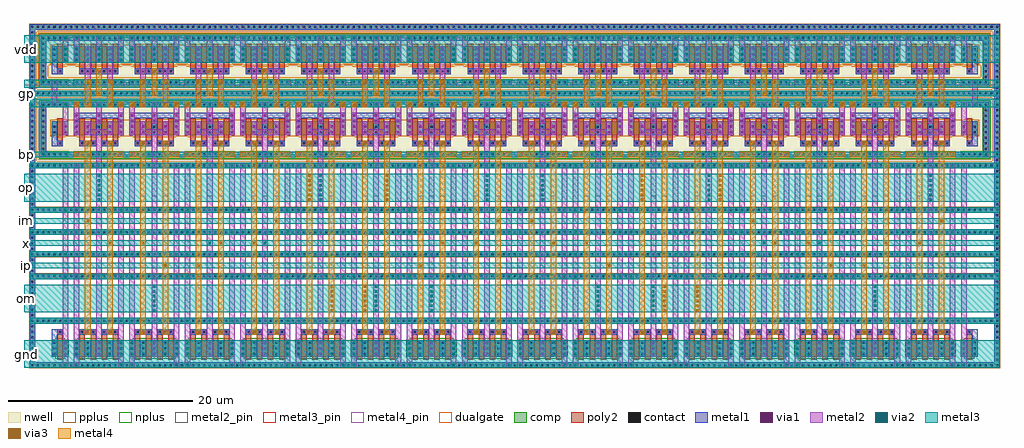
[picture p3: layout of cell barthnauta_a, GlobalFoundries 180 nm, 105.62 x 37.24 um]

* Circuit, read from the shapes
.subckt barthnauta_a bp gnd gp im ip om op vdd vreg x
XM1 gnd barthnauta_edge_1/lo barthnauta_edge_1/lo gnd nfet_03v3 w=1.8u l=0.6u
XM2 barthnauta_cell_0/d1 im gnd gnd nfet_03v3 w=1.8u l=0.6u
XM3 op im barthnauta_cell_0/d1 gnd nfet_03v3 w=1.8u l=0.6u
XM4 barthnauta_cell_0/d2 x op gnd nfet_03v3 w=1.8u l=0.6u
XM5 gnd x barthnauta_cell_0/d2 gnd nfet_03v3 w=1.8u l=0.6u
XM6 barthnauta_cell_2/d1 x gnd gnd nfet_03v3 w=1.8u l=0.6u
XM7 om x barthnauta_cell_2/d1 gnd nfet_03v3 w=1.8u l=0.6u
XM8 barthnauta_cell_2/d2 ip om gnd nfet_03v3 w=1.8u l=0.6u
XM9 gnd ip barthnauta_cell_2/d2 gnd nfet_03v3 w=1.8u l=0.6u
XM10 barthnauta_cell_3/d1 ip gnd gnd nfet_03v3 w=1.8u l=0.6u
XM11 x ip barthnauta_cell_3/d1 gnd nfet_03v3 w=1.8u l=0.6u
XM12 barthnauta_cell_3/d2 x x gnd nfet_03v3 w=1.8u l=0.6u
XM13 gnd x barthnauta_cell_3/d2 gnd nfet_03v3 w=1.8u l=0.6u
XM14 barthnauta_cell_4/d1 x gnd gnd nfet_03v3 w=1.8u l=0.6u
XM15 x x barthnauta_cell_4/d1 gnd nfet_03v3 w=1.8u l=0.6u
XM16 barthnauta_cell_4/d2 im x gnd nfet_03v3 w=1.8u l=0.6u
XM17 gnd im barthnauta_cell_4/d2 gnd nfet_03v3 w=1.8u l=0.6u
XM18 barthnauta_cell_5/d1 op gnd gnd nfet_03v3 w=1.8u l=0.6u
XM19 op op barthnauta_cell_5/d1 gnd nfet_03v3 w=1.8u l=0.6u
XM20 barthnauta_cell_5/d2 om op gnd nfet_03v3 w=1.8u l=0.6u
XM21 gnd om barthnauta_cell_5/d2 gnd nfet_03v3 w=1.8u l=0.6u
XM22 barthnauta_cell_6/d1 om gnd gnd nfet_03v3 w=1.8u l=0.6u
XM23 om om barthnauta_cell_6/d1 gnd nfet_03v3 w=1.8u l=0.6u
XM24 barthnauta_cell_6/d2 op om gnd nfet_03v3 w=1.8u l=0.6u
XM25 gnd op barthnauta_cell_6/d2 gnd nfet_03v3 w=1.8u l=0.6u
XM26 barthnauta_cell_7/d1 ip gnd gnd nfet_03v3 w=1.8u l=0.6u
XM27 om ip barthnauta_cell_7/d1 gnd nfet_03v3 w=1.8u l=0.6u
XM28 barthnauta_cell_7/d2 x om gnd nfet_03v3 w=1.8u l=0.6u
XM29 gnd x barthnauta_cell_7/d2 gnd nfet_03v3 w=1.8u l=0.6u
XM30 barthnauta_cell_8/d1 x gnd gnd nfet_03v3 w=1.8u l=0.6u
XM31 op x barthnauta_cell_8/d1 gnd nfet_03v3 w=1.8u l=0.6u
XM32 barthnauta_cell_8/d2 im op gnd nfet_03v3 w=1.8u l=0.6u
XM33 gnd im barthnauta_cell_8/d2 gnd nfet_03v3 w=1.8u l=0.6u
XM34 barthnauta_cell_9/d2 im gnd gnd nfet_03v3 w=1.8u l=0.6u
XM35 op im barthnauta_cell_9/d2 gnd nfet_03v3 w=1.8u l=0.6u
XM36 barthnauta_cell_9/d1 x op gnd nfet_03v3 w=1.8u l=0.6u
XM37 gnd x barthnauta_cell_9/d1 gnd nfet_03v3 w=1.8u l=0.6u
XM38 barthnauta_cell_10/d2 x gnd gnd nfet_03v3 w=1.8u l=0.6u
XM39 om x barthnauta_cell_10/d2 gnd nfet_03v3 w=1.8u l=0.6u
XM40 barthnauta_cell_10/d1 ip om gnd nfet_03v3 w=1.8u l=0.6u
XM41 gnd ip barthnauta_cell_10/d1 gnd nfet_03v3 w=1.8u l=0.6u
XM42 barthnauta_cell_11/d2 op gnd gnd nfet_03v3 w=1.8u l=0.6u
XM43 om op barthnauta_cell_11/d2 gnd nfet_03v3 w=1.8u l=0.6u
XM44 barthnauta_cell_11/d1 om om gnd nfet_03v3 w=1.8u l=0.6u
XM45 gnd om barthnauta_cell_11/d1 gnd nfet_03v3 w=1.8u l=0.6u
XM46 barthnauta_cell_12/d2 om gnd gnd nfet_03v3 w=1.8u l=0.6u
XM47 op om barthnauta_cell_12/d2 gnd nfet_03v3 w=1.8u l=0.6u
XM48 barthnauta_cell_12/d1 op op gnd nfet_03v3 w=1.8u l=0.6u
XM49 gnd op barthnauta_cell_12/d1 gnd nfet_03v3 w=1.8u l=0.6u
XM50 barthnauta_cell_13/d2 im gnd gnd nfet_03v3 w=1.8u l=0.6u
XM51 x im barthnauta_cell_13/d2 gnd nfet_03v3 w=1.8u l=0.6u
XM52 barthnauta_cell_13/d1 x x gnd nfet_03v3 w=1.8u l=0.6u
XM53 gnd x barthnauta_cell_13/d1 gnd nfet_03v3 w=1.8u l=0.6u
XM54 barthnauta_cell_14/d2 x gnd gnd nfet_03v3 w=1.8u l=0.6u
XM55 x x barthnauta_cell_14/d2 gnd nfet_03v3 w=1.8u l=0.6u
XM56 barthnauta_cell_14/d1 ip x gnd nfet_03v3 w=1.8u l=0.6u
XM57 gnd ip barthnauta_cell_14/d1 gnd nfet_03v3 w=1.8u l=0.6u
XM58 barthnauta_cell_15/d2 ip gnd gnd nfet_03v3 w=1.8u l=0.6u
XM59 om ip barthnauta_cell_15/d2 gnd nfet_03v3 w=1.8u l=0.6u
XM60 barthnauta_cell_15/d1 x om gnd nfet_03v3 w=1.8u l=0.6u
XM61 gnd x barthnauta_cell_15/d1 gnd nfet_03v3 w=1.8u l=0.6u
XM62 barthnauta_cell_16/d2 x gnd gnd nfet_03v3 w=1.8u l=0.6u
XM63 op x barthnauta_cell_16/d2 gnd nfet_03v3 w=1.8u l=0.6u
XM64 barthnauta_cell_16/d1 im op gnd nfet_03v3 w=1.8u l=0.6u
XM65 gnd im barthnauta_cell_16/d1 gnd nfet_03v3 w=1.8u l=0.6u
XM66 barthnauta_edge_17/lo barthnauta_edge_17/lo gnd gnd nfet_03v3 w=1.8u l=0.6u
XM67 vreg barthnauta_edge_1/hi barthnauta_edge_1/hi bp pfet_03v3 w=1.5u l=0.6u
XM68 vdd barthnauta_edge_1/hih barthnauta_edge_1/hih vdd pfet_06v0 w=1.8u l=0.6u
XM69 op im vreg bp pfet_03v3 w=1.5u l=0.6u m=8
XM70 vreg gp vdd vdd pfet_06v0 w=1.8u l=0.6u m=64
XM71 op x vreg bp pfet_03v3 w=1.5u l=0.6u m=8
XM72 om x vreg bp pfet_03v3 w=1.5u l=0.6u m=8
XM73 om ip vreg bp pfet_03v3 w=1.5u l=0.6u m=8
XM74 x ip vreg bp pfet_03v3 w=1.5u l=0.6u m=4
XM75 x x vreg bp pfet_03v3 w=1.5u l=0.6u m=8
XM76 x im vreg bp pfet_03v3 w=1.5u l=0.6u m=4
XM77 op op vreg bp pfet_03v3 w=1.5u l=0.6u m=4
XM78 op om vreg bp pfet_03v3 w=1.5u l=0.6u m=4
XM79 om om vreg bp pfet_03v3 w=1.5u l=0.6u m=4
XM80 om op vreg bp pfet_03v3 w=1.5u l=0.6u m=4
XM81 barthnauta_edge_17/hi barthnauta_edge_17/hi vreg bp pfet_03v3 w=1.5u l=0.6u
XM82 barthnauta_edge_17/hih barthnauta_edge_17/hih vdd vdd pfet_06v0 w=1.8u l=0.6u
.ends

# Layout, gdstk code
from math import pi, radians
import gdstk
lib = gdstk.Library(unit=1e-6, precision=1e-09)
def R(c, l, rs):  # rectangles x0, y0, x1, y1
    for r in rs: c.add(gdstk.rectangle(r[:2], r[2:], *l))
def A(c, l, x, y, w, h, nx, ny, dx, dy):  # array of equal rectangles
    R(c, l, [(x+i*dx, y+j*dy, x+i*dx+w, y+j*dy+h) for i in range(nx) for j in range(ny)])
nwell = (21, 0)
comp = (22, 0)
poly2 = (30, 0)
pplus = (31, 0)
nplus = (32, 0)
contact = (33, 0)
metal1 = (34, 0)
via1 = (35, 0)
metal2 = (36, 0)
metal2_pin = (36, 10)
via2 = (38, 0)
via3 = (40, 0)
metal3 = (42, 0)
metal3_pin = (42, 10)
metal4 = (46, 0)
metal4_pin = (46, 10)
dualgate = (55, 0)

barthnauta_cell = lib.new_cell('barthnauta_cell')
R(barthnauta_cell, nwell, [(-36,15.9,-29.4,22.5), (-36,23.7,-29.4,29.7)])
A(barthnauta_cell, comp, -36, -6.6, 6.6, 0.6, 1, 3, 0, 4.8)
A(barthnauta_cell, comp, -36, 5.4, 6.6, 0.6, 1, 3, 0, 2.4)
R(barthnauta_cell, comp, [(-35.4,-5.4,-30,-3.6), (-36,15,-29.4,15.6), (-35.4,16.2,-30,16.8), (-35.4,18.6,-30,20.1), (-35.4,21.6,-30,22.2), (-36,22.8,-29.4,23.4), (-35.4,24,-30,24.6), (-35.4,26.4,-30,28.2), (-35.4,28.8,-30,29.4), (-36,30,-29.4,30.6)])
A(barthnauta_cell, poly2, -34.8, -5.7, 0.6, 2.7, 4, 2, 1.2, 31.5)
A(barthnauta_cell, poly2, -34.8, 18, 0.6, 2.4, 4, 1, 1.2, 0)
R(barthnauta_cell, poly2, [(-34.8,-3,-33,-2.4), (-32.4,-3,-30.6,-2.4), (-34.8,17.4,-33,18), (-32.4,17.4,-30.6,18), (-34.8,25.2,-30.6,25.8)])
A(barthnauta_cell, pplus, -36.02, -6.62, 6.64, 0.64, 1, 3, 0, 4.8)
A(barthnauta_cell, pplus, -36.02, 5.38, 6.64, 0.64, 1, 3, 0, 2.4)
R(barthnauta_cell, pplus, [(-36.02,14.98,-29.38,15.31), (-36.16,15.31,-29.24,15.76), (-35.03,18.37,-30.37,18.44), (-35.56,18.44,-29.84,20.26), (-35.03,20.26,-30.37,20.33), (-36.16,22.64,-29.24,23.56), (-35.03,26.17,-30.37,26.24), (-35.56,26.24,-29.84,28.36), (-35.03,28.36,-30.37,28.43), (-36.16,29.84,-29.24,30.29), (-36.02,30.29,-29.38,30.62)])
R(barthnauta_cell, nplus, [(-35.03,-5.63,-30.37,-5.42), (-35.42,-5.42,-29.98,-3.58), (-35.03,-3.58,-30.37,-3.37), (-35.56,16.04,-29.84,16.49), (-35.42,16.49,-29.98,16.82), (-35.42,21.58,-29.98,21.91), (-35.56,21.91,-29.84,22.36), (-35.56,23.84,-29.84,24.29), (-35.42,24.29,-29.98,24.62), (-35.42,28.78,-29.98,29.11), (-35.56,29.11,-29.84,29.56)])
A(barthnauta_cell, contact, -35.81, -6.41, 0.22, 0.22, 11, 3, 0.6, 4.8)
A(barthnauta_cell, contact, -35.21, -5.21, 0.22, 0.22, 5, 3, 1.2, 0.6)
A(barthnauta_cell, contact, -34.61, -2.81, 0.22, 0.22, 3, 2, 0.6, 20.4)
A(barthnauta_cell, contact, -32.21, -2.81, 0.22, 0.22, 3, 2, 0.6, 20.4)
A(barthnauta_cell, contact, -35.81, 5.59, 0.22, 0.22, 11, 3, 0.6, 2.4)
A(barthnauta_cell, contact, -35.81, 15.19, 0.22, 0.22, 11, 2, 0.6, 7.8)
A(barthnauta_cell, contact, -35.21, 16.39, 0.22, 0.22, 9, 2, 0.6, 5.4)
A(barthnauta_cell, contact, -35.21, 18.79, 0.22, 0.22, 5, 2, 1.2, 0.6)
A(barthnauta_cell, contact, -35.21, 24.19, 0.22, 0.22, 9, 2, 0.6, 4.8)
A(barthnauta_cell, contact, -34.61, 25.39, 0.22, 0.22, 7, 1, 0.6, 0)
A(barthnauta_cell, contact, -35.21, 26.59, 0.22, 0.22, 5, 3, 1.2, 0.6)
A(barthnauta_cell, contact, -35.81, 30.19, 0.22, 0.22, 11, 1, 0.6, 0)
A(barthnauta_cell, metal1, -36, -6.6, 6.6, 0.6, 1, 3, 0, 4.8)
A(barthnauta_cell, metal1, -35.4, -5.4, 0.6, 1.8, 5, 2, 1.2, 31.8)
A(barthnauta_cell, metal1, -36, 5.4, 6.6, 0.6, 1, 3, 0, 2.4)
A(barthnauta_cell, metal1, -35.4, 18.6, 0.6, 1.8, 3, 1, 2.4, 0)
A(barthnauta_cell, metal1, -36, 21.6, 6.6, 0.6, 1, 3, 0, 1.2)
R(barthnauta_cell, metal1, [(-34.8,-3,-33,-2.4), (-32.4,-3,-30.6,-2.4), (-36,15,-29.4,15.6), (-36,16.2,-29.4,16.8), (-34.8,17.4,-33,18), (-32.4,17.4,-30.6,18), (-34.2,18.6,-33.6,20.1), (-31.8,18.6,-31.2,20.1), (-35.4,20.4,-30,21), (-34.8,25.2,-30.6,25.8), (-36,28.8,-29.4,29.4), (-36,30,-29.4,30.6)])
A(barthnauta_cell, via1, -35.23, -6.43, 0.26, 0.26, 1, 3, 0, 4.8)
A(barthnauta_cell, via1, -30.43, -6.43, 0.26, 0.26, 1, 3, 0, 4.8)
A(barthnauta_cell, via1, -35.23, -5.23, 0.26, 0.26, 3, 3, 2.4, 0.6)
A(barthnauta_cell, via1, -35.23, 5.57, 0.26, 0.26, 1, 3, 0, 2.4)
A(barthnauta_cell, via1, -30.43, 5.57, 0.26, 0.26, 1, 3, 0, 2.4)
A(barthnauta_cell, via1, -35.23, 19.97, 0.26, 0.26, 3, 2, 2.4, 0.6)
A(barthnauta_cell, via1, -35.23, 26.57, 0.26, 0.26, 5, 3, 1.2, 0.6)
A(barthnauta_cell, via1, -35.23, 28.97, 0.26, 0.26, 3, 1, 2.4, 0)
R(barthnauta_cell, via1, [(-34.03,-2.83,-33.77,-2.57), (-31.63,-2.83,-31.37,-2.57), (-35.23,15.17,-34.97,15.43), (-30.43,15.17,-30.17,15.43), (-35.23,16.37,-34.97,16.63), (-30.43,16.37,-30.17,16.63), (-34.03,17.57,-33.77,17.83), (-31.63,17.57,-31.37,17.83), (-35.23,18.77,-34.97,19.03), (-34.03,18.77,-33.77,19.03), (-31.63,18.77,-31.37,19.03), (-30.43,18.77,-30.17,19.03), (-35.23,19.37,-34.97,19.63), (-34.03,19.37,-33.77,19.63), (-31.63,19.37,-31.37,19.63), (-30.43,19.37,-30.17,19.63), (-32.83,25.37,-32.57,25.63)])
A(barthnauta_cell, metal2, -35.4, 26.4, 0.6, 3, 3, 1, 2.4, 0)
R(barthnauta_cell, metal2, [(-35.4,-6.6,-34.8,15.6), (-30.6,-6.6,-30,15.6), (-33,-5.4,-32.4,18.6), (-34.2,-3,-33.6,-2.4), (-31.8,-3,-31.2,-2.4), (-35.4,16.2,-34.8,16.8), (-30.6,16.2,-30,16.8), (-34.2,17.4,-33.6,18), (-31.8,17.4,-31.2,18), (-35.4,18.6,-34.8,22.2), (-34.2,18.6,-31.2,19.2), (-30.6,18.6,-30,22.2), (-34.2,19.2,-33.6,20.1), (-31.8,19.2,-31.2,20.1), (-33,19.8,-32.4,22.2), (-34.2,21.6,-33.6,28.2), (-31.8,21.6,-31.2,28.2), (-33,25.2,-32.4,25.8)])
R(barthnauta_cell, metal2_pin, [(-33,-0.6,-32.4,12)])
A(barthnauta_cell, via2, -35.23, -5.23, 0.26, 0.26, 1, 3, 0, 0.6)
A(barthnauta_cell, via2, -30.43, -5.23, 0.26, 0.26, 1, 3, 0, 0.6)
A(barthnauta_cell, via2, -35.23, 3.17, 0.26, 0.26, 1, 4, 0, 2.4)
A(barthnauta_cell, via2, -30.43, 3.17, 0.26, 0.26, 1, 4, 0, 2.4)
A(barthnauta_cell, via2, -35.23, 21.77, 0.26, 0.26, 5, 1, 1.2, 0)
A(barthnauta_cell, via2, -35.23, 26.57, 0.26, 0.26, 3, 3, 2.4, 0.6)
A(barthnauta_cell, via2, -35.23, 28.97, 0.26, 0.26, 3, 1, 2.4, 0)
R(barthnauta_cell, via2, [(-35.23,-6.43,-34.97,-6.17), (-30.43,-6.43,-30.17,-6.17), (-34.03,-2.83,-33.77,-2.57), (-31.63,-2.83,-31.37,-2.57), (-35.23,-1.63,-34.97,-1.37), (-30.43,-1.63,-30.17,-1.37), (-35.23,15.17,-34.97,15.43), (-30.43,15.17,-30.17,15.43), (-35.23,16.37,-34.97,16.63), (-30.43,16.37,-30.17,16.63), (-34.03,17.57,-33.77,17.83), (-31.63,17.57,-31.37,17.83), (-34.03,24.17,-33.77,24.43), (-31.63,24.17,-31.37,24.43), (-32.83,25.37,-32.57,25.63)])
R(barthnauta_cell, via3, [(-34.03,-2.83,-33.77,-2.57), (-31.63,-2.83,-31.37,-2.57), (-34.03,17.57,-33.77,17.83), (-31.63,17.57,-31.37,17.83), (-35.23,21.77,-34.97,22.03), (-34.03,21.77,-33.77,22.03), (-31.63,21.77,-31.37,22.03), (-30.43,21.77,-30.17,22.03), (-32.83,22.97,-32.57,23.23), (-34.03,24.17,-33.77,24.43), (-31.63,24.17,-31.37,24.43), (-32.83,25.37,-32.57,25.63)])
A(barthnauta_cell, metal3, -36, 3, 6.6, 0.6, 1, 7, 0, 1.2)
R(barthnauta_cell, metal3, [(-36,-6.6,-29.4,-3.6), (-34.2,-3,-33.6,-2.4), (-31.8,-3,-31.2,-2.4), (-36,-1.8,-29.4,-1.2), (-36,-0.6,-29.4,2.4), (-36,11.4,-29.4,14.4), (-36,15,-29.4,15.6), (-36,16.2,-29.4,16.8), (-34.2,17.4,-33.6,18), (-31.8,17.4,-31.2,18), (-36,21.6,-29.4,22.5), (-36,22.8,-29.4,23.4), (-36,23.7,-29.4,24.6), (-33,25.2,-32.4,25.8), (-36,26.4,-29.4,29.4)])
R(barthnauta_cell, metal3_pin, [(-36,-6.6,-29.4,-3.6), (-36,-0.6,-29.4,2.4), (-36,4.2,-29.4,4.8), (-36,9,-29.4,9.6), (-36,11.4,-29.4,14.4), (-36,22.8,-29.4,23.4), (-36,23.7,-35.4,24.6), (-36,26.4,-29.4,29.4)])
R(barthnauta_cell, metal4, [(-34.2,-3,-33.6,16.2), (-31.8,-3,-31.2,16.2), (-35.4,16.2,-33.6,16.8), (-31.8,16.2,-30,16.8), (-34.2,16.8,-33.6,18), (-31.8,16.8,-31.2,18), (-35.4,21.6,-34.8,22.2), (-34.2,21.6,-33.6,24.6), (-31.8,21.6,-31.2,24.6), (-30.6,21.6,-30,22.2), (-33,22.8,-32.4,25.8)])
R(barthnauta_cell, metal4_pin, [(-34.2,-0.6,-33.6,12), (-31.8,-0.6,-31.2,12)])
R(barthnauta_cell, dualgate, [(-35.64,23.76,-29.76,24.84), (-35.2,26,-30.2,26.16), (-35.64,26.16,-29.76,29.64)])
barthnauta_cell.add(gdstk.Label('d1', (-33.9,-4.5), layer=34, texttype=0))
barthnauta_cell.add(gdstk.Label('d2', (-31.5,-4.5), layer=34, texttype=0))
barthnauta_cell.add(gdstk.Label('vss', (-32.7,30.3), layer=34, texttype=0))
barthnauta_cell.add(gdstk.Label('vss', (-32.7,23.1), layer=34, texttype=0))
barthnauta_cell.add(gdstk.Label('inl', (-33.9,5.7), layer=46, texttype=10))
barthnauta_cell.add(gdstk.Label('inr', (-31.5,5.7), layer=46, texttype=10))
barthnauta_cell.add(gdstk.Label('out', (-32.7,5.7), layer=36, texttype=10))
barthnauta_cell.add(gdstk.Label('vdd', (-32.7,27.9), layer=42, texttype=10))
barthnauta_cell.add(gdstk.Label('gp', (-32.7,23.1), layer=42, texttype=10))
barthnauta_cell.add(gdstk.Label('vreg', (-35.7,24.15), layer=42, texttype=10))
barthnauta_cell.add(gdstk.Label('op', (-32.7,12.9), layer=42, texttype=10))
barthnauta_cell.add(gdstk.Label('im', (-32.7,9.3), layer=42, texttype=10))
barthnauta_cell.add(gdstk.Label('ip', (-32.7,4.5), layer=42, texttype=10))
barthnauta_cell.add(gdstk.Label('om', (-32.7,0.9), layer=42, texttype=10))
barthnauta_cell.add(gdstk.Label('gnd', (-32.7,-5.1), layer=42, texttype=10))

barthnauta_edge = lib.new_cell('barthnauta_edge')
R(barthnauta_edge, nwell, [(-36.9,15.9,-33,22.5), (-36.9,23.7,-33,29.7)])
A(barthnauta_edge, comp, -37.8, -6.6, 4.8, 0.6, 1, 3, 0, 4.8)
A(barthnauta_edge, comp, -37.8, 3.6, 0.6, 1.8, 1, 3, 0, 2.4)
A(barthnauta_edge, comp, -37.8, 5.4, 4.8, 0.6, 1, 3, 0, 2.4)
R(barthnauta_edge, comp, [(-37.8,-6,-37.2,-1.8), (-35.4,-5.4,-33.6,-3.6), (-37.8,-1.2,-37.2,3), (-37.8,10.8,-37.2,15), (-37.8,15,-33,15.6), (-37.8,15.6,-37.2,22.8), (-36.6,16.2,-33.6,16.8), (-36.6,16.8,-36,21.6), (-35.4,18.6,-33.6,20.1), (-36.6,21.6,-33.6,22.2), (-37.8,22.8,-33,23.4), (-37.8,23.4,-37.2,30), (-36.6,24,-33.6,24.6), (-36.6,24.6,-36,28.8), (-35.4,26.4,-33.6,28.2), (-36.6,28.8,-33.6,29.4), (-37.8,30,-33,30.6)])
R(barthnauta_edge, poly2, [(-34.8,-5.7,-34.2,-2.4), (-34.8,17.4,-34.2,20.4), (-34.8,25.2,-34.2,28.5)])
A(barthnauta_edge, pplus, -37.82, -6.62, 4.84, 0.64, 1, 3, 0, 4.8)
A(barthnauta_edge, pplus, -37.82, 3.62, 0.64, 1.76, 1, 3, 0, 2.4)
A(barthnauta_edge, pplus, -37.82, 5.38, 4.84, 0.64, 1, 3, 0, 2.4)
R(barthnauta_edge, pplus, [(-37.82,-5.98,-37.18,-1.82), (-37.82,-1.18,-37.18,2.98), (-37.82,10.82,-37.18,14.98), (-37.82,14.98,-32.98,15.31), (-37.82,15.31,-32.84,15.76), (-37.82,15.76,-37.04,22.64), (-35.03,18.37,-33.97,18.44), (-35.56,18.44,-33.44,20.26), (-35.03,20.26,-33.97,20.33), (-37.82,22.64,-32.84,23.56), (-37.82,23.56,-37.04,29.84), (-35.03,26.17,-33.97,26.24), (-35.56,26.24,-33.44,28.36), (-35.03,28.36,-33.97,28.43), (-37.82,29.84,-32.84,30.29), (-37.82,30.29,-32.98,30.62)])
R(barthnauta_edge, nplus, [(-35.03,-5.63,-33.97,-5.42), (-35.42,-5.42,-33.58,-3.58), (-35.03,-3.58,-33.97,-3.37), (-36.76,16.04,-33.44,16.49), (-36.76,16.49,-33.58,16.82), (-36.76,16.82,-35.98,21.58), (-36.76,21.58,-33.58,21.91), (-36.76,21.91,-33.44,22.36), (-36.76,23.84,-33.44,24.29), (-36.76,24.29,-33.58,24.62), (-36.76,24.62,-35.98,28.78), (-36.76,28.78,-33.58,29.11), (-36.76,29.11,-33.44,29.56)])
A(barthnauta_edge, contact, -37.61, -6.41, 0.22, 0.22, 8, 3, 0.6, 4.8)
A(barthnauta_edge, contact, -37.61, -5.81, 0.22, 0.22, 1, 7, 0, 0.6)
A(barthnauta_edge, contact, -35.21, -5.21, 0.22, 0.22, 1, 3, 0, 0.6)
A(barthnauta_edge, contact, -34.01, -5.21, 0.22, 0.22, 1, 3, 0, 0.6)
A(barthnauta_edge, contact, -37.61, -1.01, 0.22, 0.22, 1, 7, 0, 0.6)
A(barthnauta_edge, contact, -37.61, 3.79, 0.22, 0.22, 1, 3, 0, 0.6)
A(barthnauta_edge, contact, -37.61, 5.59, 0.22, 0.22, 8, 3, 0.6, 2.4)
A(barthnauta_edge, contact, -37.61, 6.19, 0.22, 0.22, 1, 3, 0, 0.6)
A(barthnauta_edge, contact, -37.61, 8.59, 0.22, 0.22, 1, 3, 0, 0.6)
A(barthnauta_edge, contact, -37.61, 10.99, 0.22, 0.22, 1, 7, 0, 0.6)
A(barthnauta_edge, contact, -37.61, 15.19, 0.22, 0.22, 8, 2, 0.6, 7.8)
A(barthnauta_edge, contact, -37.61, 15.79, 0.22, 0.22, 1, 5, 0, 0.6)
A(barthnauta_edge, contact, -36.41, 16.39, 0.22, 0.22, 5, 2, 0.6, 5.4)
A(barthnauta_edge, contact, -36.41, 16.99, 0.22, 0.22, 1, 3, 0, 0.6)
A(barthnauta_edge, contact, -37.61, 18.79, 0.22, 0.22, 4, 2, 1.2, 0.6)
A(barthnauta_edge, contact, -37.61, 19.99, 0.22, 0.22, 1, 5, 0, 0.6)
A(barthnauta_edge, contact, -36.41, 19.99, 0.22, 0.22, 1, 3, 0, 0.6)
A(barthnauta_edge, contact, -37.61, 23.59, 0.22, 0.22, 1, 5, 0, 0.6)
A(barthnauta_edge, contact, -36.41, 24.19, 0.22, 0.22, 5, 2, 0.6, 4.8)
A(barthnauta_edge, contact, -36.41, 24.79, 0.22, 0.22, 1, 3, 0, 0.6)
A(barthnauta_edge, contact, -37.61, 26.59, 0.22, 0.22, 4, 3, 1.2, 0.6)
A(barthnauta_edge, contact, -37.61, 28.39, 0.22, 0.22, 1, 3, 0, 0.6)
A(barthnauta_edge, contact, -37.61, 30.19, 0.22, 0.22, 8, 1, 0.6, 0)
R(barthnauta_edge, contact, [(-34.61,-2.81,-34.39,-2.59), (-34.61,17.59,-34.39,17.81), (-34.61,25.39,-34.39,25.61), (-36.41,28.39,-36.19,28.61)])
A(barthnauta_edge, metal1, -37.8, -6.6, 4.8, 0.6, 1, 3, 0, 4.8)
A(barthnauta_edge, metal1, -37.8, 3.6, 0.6, 1.8, 1, 3, 0, 2.4)
A(barthnauta_edge, metal1, -37.8, 5.4, 4.8, 0.6, 1, 3, 0, 2.4)
R(barthnauta_edge, metal1, [(-37.8,-6,-37.2,-1.8), (-35.4,-5.4,-34.8,-3), (-34.2,-5.4,-33.6,-3.6), (-35.4,-3,-34.2,-2.4), (-37.8,-1.2,-37.2,3), (-37.8,10.8,-37.2,15), (-37.8,15,-33,15.6), (-37.8,15.6,-37.2,22.8), (-36.6,16.2,-33,16.8), (-36.6,16.8,-36,21.6), (-35.4,17.4,-34.2,18), (-35.4,18,-34.8,20.1), (-34.2,18.6,-33.6,20.1), (-36.6,21.6,-33.6,22.2), (-37.8,22.8,-33,23.4), (-37.8,23.4,-37.2,30), (-36.6,24,-33,24.6), (-36.6,24.6,-36,28.8), (-35.4,25.2,-34.2,25.8), (-35.4,25.8,-34.8,28.2), (-34.2,26.4,-33.6,28.2), (-36.6,28.8,-33,29.4), (-37.8,30,-33,30.6)])
A(barthnauta_edge, via1, -34.03, -5.23, 0.26, 0.26, 1, 3, 0, 0.6)
A(barthnauta_edge, via1, -34.03, 3.17, 0.26, 0.26, 1, 4, 0, 2.4)
A(barthnauta_edge, via1, -34.03, 26.57, 0.26, 0.26, 1, 3, 0, 0.6)
R(barthnauta_edge, via1, [(-34.03,-6.43,-33.77,-6.17), (-34.03,-1.63,-33.77,-1.37), (-34.03,15.17,-33.77,15.43), (-36.43,16.37,-36.17,16.63), (-34.03,18.77,-33.77,19.03), (-34.03,19.37,-33.77,19.63), (-34.03,28.97,-33.77,29.23)])
R(barthnauta_edge, metal2, [(-34.2,-6.6,-33.6,15.6), (-36.6,16.2,-36,16.8), (-34.2,18.6,-33.6,22.2), (-35.4,21.6,-34.8,24.6), (-34.2,26.4,-33.6,29.4)])
A(barthnauta_edge, via2, -34.03, -6.43, 0.26, 0.26, 1, 3, 0, 4.8)
A(barthnauta_edge, via2, -34.03, 5.57, 0.26, 0.26, 1, 3, 0, 2.4)
A(barthnauta_edge, via2, -34.03, 26.57, 0.26, 0.26, 1, 3, 0, 0.6)
R(barthnauta_edge, via2, [(-34.03,15.17,-33.77,15.43), (-36.43,16.37,-36.17,16.63), (-35.23,21.77,-34.97,22.03), (-34.03,21.77,-33.77,22.03), (-35.23,24.17,-34.97,24.43), (-34.03,28.97,-33.77,29.23)])
A(barthnauta_edge, metal3, -37.8, 3, 4.8, 0.6, 1, 7, 0, 1.2)
R(barthnauta_edge, metal3, [(-37.8,-6.6,-33,-3.6), (-37.8,-1.8,-33,-1.2), (-37.8,-0.6,-33,2.4), (-37.8,11.4,-33,14.4), (-37.8,15,-33,15.6), (-37.8,16.2,-33,16.8), (-37.8,21.6,-33,22.5), (-37.8,22.8,-33,23.4), (-37.8,23.7,-33,24.6), (-37.8,26.4,-33,29.4)])
A(barthnauta_edge, metal3_pin, -37.8, 4.2, 4.8, 0.6, 1, 3, 0, 2.4)
R(barthnauta_edge, metal3_pin, [(-37.8,-6.6,-33,-3.6), (-37.8,-0.6,-33,2.4), (-37.8,11.4,-33,14.4), (-37.8,16.2,-33,16.8), (-37.8,22.8,-33,23.4), (-37.8,24,-33,24.6), (-37.8,26.4,-33,29.4)])
R(barthnauta_edge, dualgate, [(-36.84,23.76,-33.36,24.84), (-36.84,24.84,-35.76,26.16), (-35.2,26,-33.8,26.16), (-36.84,26.16,-33.36,29.64)])
barthnauta_edge.add(gdstk.Label('hih', (-35.1,25.5), layer=34, texttype=0))
barthnauta_edge.add(gdstk.Label('hi', (-35.1,17.7), layer=34, texttype=0))
barthnauta_edge.add(gdstk.Label('lo', (-35.1,-2.7), layer=34, texttype=0))
barthnauta_edge.add(gdstk.Label('vdd', (-35.4,27.9), layer=42, texttype=10))
barthnauta_edge.add(gdstk.Label('gp', (-35.4,23.1), layer=42, texttype=10))
barthnauta_edge.add(gdstk.Label('bp', (-35.4,16.5), layer=42, texttype=10))
barthnauta_edge.add(gdstk.Label('vreg', (-35.4,24.3), layer=42, texttype=10))
barthnauta_edge.add(gdstk.Label('op', (-35.4,12.9), layer=42, texttype=10))
barthnauta_edge.add(gdstk.Label('x', (-35.4,6.9), layer=42, texttype=10))
barthnauta_edge.add(gdstk.Label('im', (-35.4,9.3), layer=42, texttype=10))
barthnauta_edge.add(gdstk.Label('ip', (-35.4,4.5), layer=42, texttype=10))
barthnauta_edge.add(gdstk.Label('om', (-35.4,0.9), layer=42, texttype=10))
barthnauta_edge.add(gdstk.Label('gnd', (-35.4,-5.1), layer=42, texttype=10))

barthnauta_a = lib.new_cell('barthnauta_a')
A(barthnauta_a, pplus, -47.24, 16.64, 0.28, 1.82, 17, 1, 6, 0)
A(barthnauta_a, pplus, -47.24, 24.44, 0.28, 2.12, 17, 1, 6, 0)
A(barthnauta_a, nplus, -47.24, 14.24, 0.28, 0.45, 17, 2, 6, 5.87)
A(barthnauta_a, nplus, -47.24, 22.04, 0.28, 0.45, 17, 2, 6, 5.27)
R(barthnauta_a, metal1, [(-50.4,14.4,-49.8,15), (51.6,14.4,52.2,15)])
R(barthnauta_a, metal2, [(-38.4,-2.4,-37.8,0.6), (-14.4,-2.4,-13.8,0.6), (-8.4,-2.4,-7.8,0.6), (9.6,-2.4,10.2,0.6), (15.6,-2.4,16.2,0.6), (39.6,-2.4,40.2,0.6), (-32.4,4.8,-31.8,5.4), (-26.4,4.8,-25.8,5.4), (27.6,4.8,28.2,5.4), (33.6,4.8,34.2,5.4), (-44.4,9.6,-43.8,12.6), (-20.4,9.6,-19.8,12.6), (-2.4,9.6,-1.8,12.6), (3.6,9.6,4.2,12.6), (21.6,9.6,22.2,12.6), (45.6,9.6,46.2,12.6)])
A(barthnauta_a, via2, -38.23, -2.33, 0.26, 0.26, 1, 6, 0, 0.52)
A(barthnauta_a, via2, -14.23, -2.33, 0.26, 0.26, 1, 6, 0, 0.52)
A(barthnauta_a, via2, -8.23, -2.33, 0.26, 0.26, 1, 6, 0, 0.52)
A(barthnauta_a, via2, 9.77, -2.33, 0.26, 0.26, 1, 6, 0, 0.52)
A(barthnauta_a, via2, 15.77, -2.33, 0.26, 0.26, 1, 6, 0, 0.52)
A(barthnauta_a, via2, 39.77, -2.33, 0.26, 0.26, 1, 6, 0, 0.52)
A(barthnauta_a, via2, -44.23, 9.67, 0.26, 0.26, 1, 6, 0, 0.52)
A(barthnauta_a, via2, -20.23, 9.67, 0.26, 0.26, 1, 6, 0, 0.52)
A(barthnauta_a, via2, -2.23, 9.67, 0.26, 0.26, 1, 6, 0, 0.52)
A(barthnauta_a, via2, 3.77, 9.67, 0.26, 0.26, 1, 6, 0, 0.52)
A(barthnauta_a, via2, 21.77, 9.67, 0.26, 0.26, 1, 6, 0, 0.52)
A(barthnauta_a, via2, 45.77, 9.67, 0.26, 0.26, 1, 6, 0, 0.52)
R(barthnauta_a, via2, [(-32.23,4.97,-31.97,5.23), (-26.23,4.97,-25.97,5.23), (27.77,4.97,28.03,5.23), (33.77,4.97,34.03,5.23)])
A(barthnauta_a, via3, -19.03, -2.33, 0.26, 0.26, 1, 6, 0, 0.52)
A(barthnauta_a, via3, -15.43, -2.33, 0.26, 0.26, 1, 6, 0, 0.52)
A(barthnauta_a, via3, 16.97, -2.33, 0.26, 0.26, 1, 6, 0, 0.52)
A(barthnauta_a, via3, 20.57, -2.33, 0.26, 0.26, 1, 6, 0, 0.52)
A(barthnauta_a, via3, -21.43, 9.67, 0.26, 0.26, 1, 6, 0, 0.52)
A(barthnauta_a, via3, -13.03, 9.67, 0.26, 0.26, 1, 6, 0, 0.52)
A(barthnauta_a, via3, 14.57, 9.67, 0.26, 0.26, 1, 6, 0, 0.52)
A(barthnauta_a, via3, 22.97, 9.67, 0.26, 0.26, 1, 6, 0, 0.52)
R(barthnauta_a, via3, [(-37.03,2.57,-36.77,2.83), (-33.43,2.57,-33.17,2.83), (-9.43,2.57,-9.17,2.83), (10.97,2.57,11.23,2.83), (34.97,2.57,35.23,2.83), (38.57,2.57,38.83,2.83), (-43.03,4.97,-42.77,5.23), (-39.43,4.97,-39.17,5.23), (-31.03,4.97,-30.77,5.23), (-27.43,4.97,-27.17,5.23), (-7.03,4.97,-6.77,5.23), (-3.43,4.97,-3.17,5.23), (4.97,4.97,5.23,5.23), (8.57,4.97,8.83,5.23), (28.97,4.97,29.23,5.23), (32.57,4.97,32.83,5.23), (40.97,4.97,41.23,5.23), (44.57,4.97,44.83,5.23), (-45.43,7.37,-45.17,7.63), (-25.03,7.37,-24.77,7.63), (-1.03,7.37,-0.77,7.63), (2.57,7.37,2.83,7.63), (26.57,7.37,26.83,7.63), (46.97,7.37,47.23,7.63)])
A(barthnauta_a, metal3, -52.2, 2.4, 0.6, 0.6, 1, 3, 0, 2.4)
R(barthnauta_a, metal3, [(-52.2,-8.4,-51.6,-5.4), (-52.2,-2.4,-51.6,0.6), (-38.4,-2.4,-37.8,0.6), (-19.2,-2.4,-18.6,0.6), (-15.6,-2.4,-15,0.6), (-14.4,-2.4,-13.8,0.6), (-8.4,-2.4,-7.8,0.6), (9.6,-2.4,10.2,0.6), (15.6,-2.4,16.2,0.6), (16.8,-2.4,17.4,0.6), (20.4,-2.4,21,0.6), (39.6,-2.4,40.2,0.6), (-37.2,2.4,-36.6,3), (-33.6,2.4,-33,3), (-9.6,2.4,-9,3), (10.8,2.4,11.4,3), (34.8,2.4,35.4,3), (38.4,2.4,39,3), (-43.2,4.8,-42.6,5.4), (-39.6,4.8,-39,5.4), (-32.4,4.8,-31.8,5.4), (-31.2,4.8,-30.6,5.4), (-27.6,4.8,-27,5.4), (-26.4,4.8,-25.8,5.4), (-7.2,4.8,-6.6,5.4), (-3.6,4.8,-3,5.4), (4.8,4.8,5.4,5.4), (8.4,4.8,9,5.4), (27.6,4.8,28.2,5.4), (28.8,4.8,29.4,5.4), (32.4,4.8,33,5.4), (33.6,4.8,34.2,5.4), (40.8,4.8,41.4,5.4), (44.4,4.8,45,5.4), (-45.6,7.2,-45,7.8), (-25.2,7.2,-24.6,7.8), (-1.2,7.2,-0.6,7.8), (2.4,7.2,3,7.8), (26.4,7.2,27,7.8), (46.8,7.2,47.4,7.8), (-52.2,9.6,-51.6,12.6), (-44.4,9.6,-43.8,12.6), (-21.6,9.6,-21,12.6), (-20.4,9.6,-19.8,12.6), (-13.2,9.6,-12.6,12.6), (-2.4,9.6,-1.8,12.6), (3.6,9.6,4.2,12.6), (14.4,9.6,15,12.6), (21.6,9.6,22.2,12.6), (22.8,9.6,23.4,12.6), (45.6,9.6,46.2,12.6), (-52.2,14.4,-22.8,15), (24.6,14.4,53.4,15), (-52.2,21,-51.6,21.6), (-52.2,21.9,-51.6,22.8), (-52.2,24.6,-51.6,27.6)])
R(barthnauta_a, metal3_pin, [(-52.2,-8.4,-51.6,-5.4), (-52.2,-2.4,-51.6,0.6), (-52.2,2.4,-51.6,3), (-52.2,7.2,-51.6,7.8), (-52.2,9.6,-51.6,12.6), (-52.2,14.4,-51.6,15), (-52.2,21,-51.6,21.6), (-52.2,22.2,-51.6,22.8), (-52.2,24.6,-51.6,27.6)])
R(barthnauta_a, metal4, [(-19.2,-2.4,-18.6,0.6), (-15.6,-2.4,-15,0.6), (16.8,-2.4,17.4,0.6), (20.4,-2.4,21,0.6), (-37.2,2.4,-36.6,3), (-33.6,2.4,-33,3), (-9.6,2.4,-9,3), (10.8,2.4,11.4,3), (34.8,2.4,35.4,3), (38.4,2.4,39,3), (-43.2,4.8,-42.6,5.4), (-39.6,4.8,-39,5.4), (-31.2,4.8,-30.6,5.4), (-27.6,4.8,-27,5.4), (-7.2,4.8,-6.6,5.4), (-3.6,4.8,-3,5.4), (4.8,4.8,5.4,5.4), (8.4,4.8,9,5.4), (28.8,4.8,29.4,5.4), (32.4,4.8,33,5.4), (40.8,4.8,41.4,5.4), (44.4,4.8,45,5.4), (-45.6,7.2,-45,7.8), (-25.2,7.2,-24.6,7.8), (-1.2,7.2,-0.6,7.8), (2.4,7.2,3,7.8), (26.4,7.2,27,7.8), (46.8,7.2,47.4,7.8), (-21.6,9.6,-21,12.6), (-13.2,9.6,-12.6,12.6), (14.4,9.6,15,12.6), (22.8,9.6,23.4,12.6)])
A(barthnauta_a, dualgate, -47.16, 21.96, 0.12, 1.08, 17, 1, 6, 0)
A(barthnauta_a, dualgate, -47.16, 24.36, 0.12, 3.48, 17, 1, 6, 0)
barthnauta_a.add(gdstk.Reference(barthnauta_cell, (-11.4,-1.8)))
barthnauta_a.add(gdstk.Reference(barthnauta_edge, (-13.8,-1.8)))
barthnauta_a.add(gdstk.Reference(barthnauta_cell, (-5.4,-1.8)))
barthnauta_a.add(gdstk.Reference(barthnauta_cell, (0.6,-1.8)))
barthnauta_a.add(gdstk.Reference(barthnauta_cell, (6.6,-1.8)))
barthnauta_a.add(gdstk.Reference(barthnauta_cell, (12.6,-1.8)))
barthnauta_a.add(gdstk.Reference(barthnauta_cell, (18.6,-1.8)))
barthnauta_a.add(gdstk.Reference(barthnauta_cell, (24.6,-1.8)))
barthnauta_a.add(gdstk.Reference(barthnauta_cell, (30.6,-1.8)))
barthnauta_a.add(gdstk.Reference(barthnauta_cell, (-28.8,-1.8), rotation=pi, x_reflection=True))
barthnauta_a.add(gdstk.Reference(barthnauta_cell, (-22.8,-1.8), rotation=pi, x_reflection=True))
barthnauta_a.add(gdstk.Reference(barthnauta_cell, (-16.8,-1.8), rotation=pi, x_reflection=True))
barthnauta_a.add(gdstk.Reference(barthnauta_cell, (-10.8,-1.8), rotation=pi, x_reflection=True))
barthnauta_a.add(gdstk.Reference(barthnauta_cell, (-4.8,-1.8), rotation=pi, x_reflection=True))
barthnauta_a.add(gdstk.Reference(barthnauta_cell, (1.2,-1.8), rotation=pi, x_reflection=True))
barthnauta_a.add(gdstk.Reference(barthnauta_cell, (7.2,-1.8), rotation=pi, x_reflection=True))
barthnauta_a.add(gdstk.Reference(barthnauta_cell, (13.2,-1.8), rotation=pi, x_reflection=True))
barthnauta_a.add(gdstk.Reference(barthnauta_edge, (15.6,-1.8), rotation=pi, x_reflection=True))
barthnauta_a.add(gdstk.Label('x', (-51.9,5.1), layer=42, texttype=0))
barthnauta_a.add(gdstk.Label('ip', (-51.9,2.7), layer=42, texttype=10))
barthnauta_a.add(gdstk.Label('im', (-51.9,7.5), layer=42, texttype=10))
barthnauta_a.add(gdstk.Label('op', (-51.9,11.1), layer=42, texttype=10))
barthnauta_a.add(gdstk.Label('om', (-51.9,-0.9), layer=42, texttype=10))
barthnauta_a.add(gdstk.Label('vdd', (-51.9,26.1), layer=42, texttype=10))
barthnauta_a.add(gdstk.Label('gp', (-51.9,21.3), layer=42, texttype=10))
barthnauta_a.add(gdstk.Label('bp', (-51.9,14.7), layer=42, texttype=10))
barthnauta_a.add(gdstk.Label('vreg', (-51.9,22.5), layer=42, texttype=10))
barthnauta_a.add(gdstk.Label('gnd', (-51.9,-6.9), layer=42, texttype=10))

lib.write_gds('barthnauta_a.gds')
